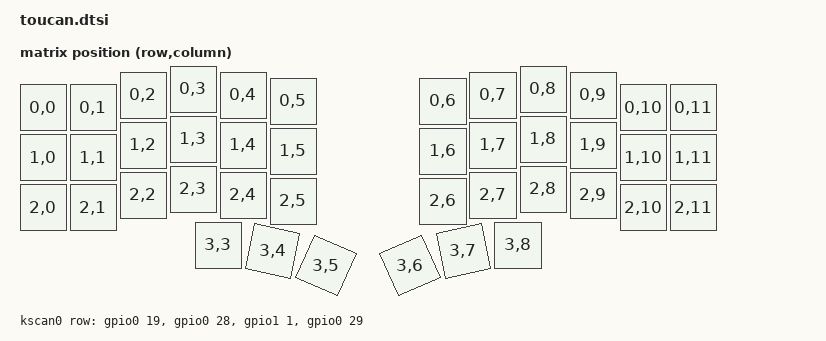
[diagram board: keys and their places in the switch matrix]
#include <input/processors.dtsi>
#include <dt-bindings/zmk/input_transform.h>
#include <dt-bindings/zmk/matrix_transform.h>
#include <physical_layouts.dtsi>


/ {
    chosen {
        zmk,kscan = &kscan0;
        zmk,physical-layout = &default_layout;
        //zmk,physical-layout = &physical_layout0;
    };

    kscan0: kscan_0 {
        compatible = "zmk,kscan-gpio-matrix";
        diode-direction = "col2row";
        wakeup-source;

    row-gpios
    = <&gpio0 19 (GPIO_ACTIVE_HIGH | GPIO_PULL_DOWN)>
    , <&gpio0 28 (GPIO_ACTIVE_HIGH | GPIO_PULL_DOWN)>
    , <&gpio1 1 (GPIO_ACTIVE_HIGH | GPIO_PULL_DOWN)>
    , <&gpio0 29 (GPIO_ACTIVE_HIGH | GPIO_PULL_DOWN)>
    ;
    };

    default_layout: default_layout {
        compatible = "zmk,physical-layout";
        display-name = "Default Layout";
        transform = <&default_transform>;

        keys  //                     w   h    x    y     rot    rx    ry
            = <&key_physical_attrs 100 100    0   37       0     0     0>
            , <&key_physical_attrs 100 100  100   37       0     0     0>
            , <&key_physical_attrs 100 100  200   12       0     0     0>
            , <&key_physical_attrs 100 100  300    0       0     0     0>
            , <&key_physical_attrs 100 100  400   12       0     0     0>
            , <&key_physical_attrs 100 100  500   24       0     0     0>
            , <&key_physical_attrs 100 100  800   24       0     0     0>
            , <&key_physical_attrs 100 100  900   12       0     0     0>
            , <&key_physical_attrs 100 100 1000    0       0     0     0>
            , <&key_physical_attrs 100 100 1100   12       0     0     0>
            , <&key_physical_attrs 100 100 1200   37       0     0     0>
            , <&key_physical_attrs 100 100 1300   37       0     0     0>
            , <&key_physical_attrs 100 100    0  137       0     0     0>
            , <&key_physical_attrs 100 100  100  137       0     0     0>
            , <&key_physical_attrs 100 100  200  112       0     0     0>
            , <&key_physical_attrs 100 100  300  100       0     0     0>
            , <&key_physical_attrs 100 100  400  112       0     0     0>
            , <&key_physical_attrs 100 100  500  124       0     0     0>
            , <&key_physical_attrs 100 100  800  124       0     0     0>
            , <&key_physical_attrs 100 100  900  112       0     0     0>
            , <&key_physical_attrs 100 100 1000  100       0     0     0>
            , <&key_physical_attrs 100 100 1100  112       0     0     0>
            , <&key_physical_attrs 100 100 1200  137       0     0     0>
            , <&key_physical_attrs 100 100 1300  137       0     0     0>
            , <&key_physical_attrs 100 100    0  237       0     0     0>
            , <&key_physical_attrs 100 100  100  237       0     0     0>
            , <&key_physical_attrs 100 100  200  212       0     0     0>
            , <&key_physical_attrs 100 100  300  200       0     0     0>
            , <&key_physical_attrs 100 100  400  212       0     0     0>
            , <&key_physical_attrs 100 100  500  224       0     0     0>
            , <&key_physical_attrs 100 100  800  224       0     0     0>
            , <&key_physical_attrs 100 100  900  212       0     0     0>
            , <&key_physical_attrs 100 100 1000  200       0     0     0>
            , <&key_physical_attrs 100 100 1100  212       0     0     0>
            , <&key_physical_attrs 100 100 1200  237       0     0     0>
            , <&key_physical_attrs 100 100 1300  237       0     0     0>
            , <&key_physical_attrs 100 100  350  312       0     0     0>
            , <&key_physical_attrs 100 100  450  312    1200   450   412>
            , <&key_physical_attrs 100 100  548  328    2400   548   433>
            , <&key_physical_attrs 100 100  752  328  (-2400)  852   433>
            , <&key_physical_attrs 100 100  850  312  (-1200)  950   412>
            , <&key_physical_attrs 100 100  950  312       0     0     0>
            ;
    };

    default_transform: keymap_transform_0 {
        compatible = "zmk,matrix-transform";
        columns = <12>;
        rows = <4>;
        // | SW1  | SW2  | SW3  | SW4  | SW5  | SW6  |   | SW6  | SW5  | SW4  | SW3  | SW2  | SW1  |
        // | SW7  | SW8  | SW9  | SW10 | SW11 | SW12 |   | SW12 | SW11 | SW10 | SW9  | SW8  | SW7  |
        // | SW13 | SW14 | SW15 | SW16 | SW17 | SW18 |   | SW18 | SW17 | SW16 | SW15 | SW14 | SW13 |
        //                      | SW19 | SW20 | SW21 |   | SW21 | SW20 | SW19 |
                map = <
        RC(0,0) RC(0,1) RC(0,2) RC(0,3) RC(0,4) RC(0,5)  RC(0,6) RC(0,7) RC(0,8) RC(0,9) RC(0,10) RC(0,11)
        RC(1,0) RC(1,1) RC(1,2) RC(1,3) RC(1,4) RC(1,5)  RC(1,6) RC(1,7) RC(1,8) RC(1,9) RC(1,10) RC(1,11)
        RC(2,0) RC(2,1) RC(2,2) RC(2,3) RC(2,4) RC(2,5)  RC(2,6) RC(2,7) RC(2,8) RC(2,9) RC(2,10) RC(2,11)
                                RC(3,3) RC(3,4) RC(3,5)  RC(3,6) RC(3,7) RC(3,8)
        >;
    };
};

/ {
    split_inputs {
        #address-cells = <1>;
        #size-cells = <0>;

        glidepoint_split: glidepoint_split@0 {
            compatible = "zmk,input-split";
            reg = <0>;
        };
    };

    /*
     * Circular gesture scroll processor.
     *
     * Place the finger at the edge of the pad and start a circular motion:
     *   - Initial movement vertical   (from 3h or 9h) → vertical scroll
     *   - Initial movement horizontal (from 6h or 12h) → horizontal scroll
     *   - Straight / radial motion                      → pointer (no scroll)
     *
     * The mode is locked until the finger is lifted.
     * Clockwise rotation scrolls down (vertical) or right (horizontal).
     * Works on all layers — no layer restriction.
     *
     * Tuning:
     *   detect-samples   – events per detection phase (default 6 ≈ 120 ms)
     *   scroll-divisor   – lower = more ticks/revolution (default 419 ≈ 15/rev)
     *   touch-timeout-ms – inactivity reset in ms (default 200)
     *   invert-vertical / invert-horizontal – flip scroll direction if needed
     */
    circular_scroll: circular_scroll {
        compatible = "zmk,input-processor-circular-scroll";
        #input-processor-cells = <0>;
        detect-samples    = <6>;
        scroll-divisor    = <419>;
        touch-timeout-ms  = <200>;
        /* invert-vertical; */   /* uncomment if CW scrolls up instead of down */
        /* invert-horizontal; */ /* uncomment if CW scrolls left instead of right */
    };

    glidepoint_listener: glidepoint_listener {
        compatible = "zmk,input-listener";
        status = "disabled";
        device = <&glidepoint_split>;
        /*
         * Processing chain (order matters):
         *   1. circular_scroll  – gesture detection; converts circular motion
         *                         to WHEEL / HWHEEL; zeroes events during the
         *                         ~120 ms detection window; passes pointer
         *                         events unchanged.
         *   2. zip_xy_scaler    – applies 2.5× speed multiplier to pointer
         *                         (X/Y) events only; WHEEL events pass through
         *                         unaffected.
         *
         * The old layer-based scroller sub-node has been removed.
         * Scroll is now purely gesture-activated on all layers.
         */
        input-processors = <
            &circular_scroll
            &zip_xy_scaler 250 100
        >;
    };
};
